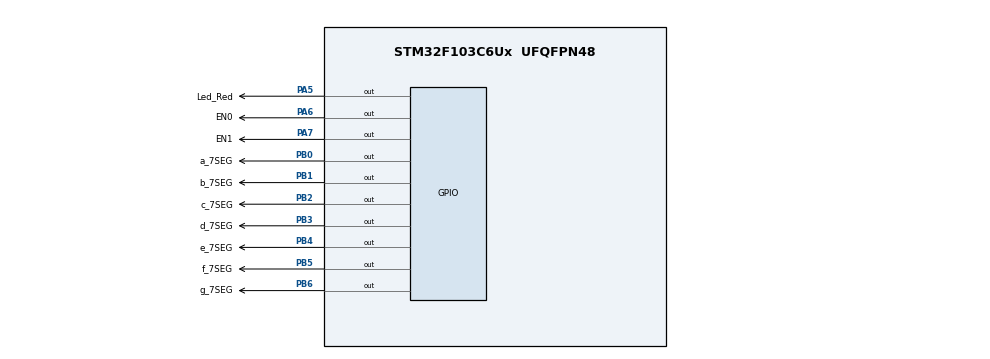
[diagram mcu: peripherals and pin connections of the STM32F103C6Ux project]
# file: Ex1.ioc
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Mcu.Family=STM32F1
Mcu.Name=STM32F103C6Ux
Mcu.Package=UFQFPN48
NVIC.PriorityGroup=NVIC_PRIORITYGROUP_4
NVIC.TIM2_IRQn=true\:0\:0\:false\:false\:true\:true\:true
PA5.GPIO_Label=Led_Red
PA5.Signal=GPIO_Output
PA6.GPIO_Label=EN0
PA6.Signal=GPIO_Output
PA7.GPIO_Label=EN1
PA7.Signal=GPIO_Output
PB0.GPIO_Label=a_7SEG
PB0.Signal=GPIO_Output
PB1.GPIO_Label=b_7SEG
PB1.Signal=GPIO_Output
PB2.GPIO_Label=c_7SEG
PB2.Signal=GPIO_Output
PB3.GPIO_Label=d_7SEG
PB3.Signal=GPIO_Output
PB4.GPIO_Label=e_7SEG
PB4.Signal=GPIO_Output
PB5.GPIO_Label=f_7SEG
PB5.Signal=GPIO_Output
PB6.GPIO_Label=g_7SEG
PB6.Signal=GPIO_Output
ProjectManager.HeapSize=0x200
ProjectManager.StackSize=0x400
ProjectManager.TargetToolchain=STM32CubeIDE
RCC.APB1Freq_Value=8000000
RCC.APB2Freq_Value=8000000
TIM2.Period=9
TIM2.Prescaler=7999
VP_SYS_VS_ND.Mode=No_Debug
VP_TIM2_VS_ClockSourceINT.Mode=Internal
board=custom

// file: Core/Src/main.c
/* USER CODE BEGIN Header */
/**
  ******************************************************************************
  * @file           : main.c
  * @brief          : Main program body
  ******************************************************************************
  * @attention
  *
  * <h2><center>&copy; Copyright (c) 2022 STMicroelectronics.
  * All rights reserved.</center></h2>
  *
  * This software component is licensed by ST under BSD 3-Clause license,
  * the "License"; You may not use this file except in compliance with the
  * License. You may obtain a copy of the License at:
  *                        opensource.org/licenses/BSD-3-Clause
  *
  ******************************************************************************
  */
/* USER CODE END Header */
#include "main.h"

TIM_HandleTypeDef htim2;

void SystemClock_Config(void);
static void MX_TIM2_Init(void);
static void MX_GPIO_Init(void);

/* USER CODE BEGIN 0 */
void display7SEG (int counter){
    //Turn on all segments
    HAL_GPIO_WritePin(GPIOB, a_7SEG_Pin|b_7SEG_Pin|c_7SEG_Pin|
    d_7SEG_Pin|e_7SEG_Pin|f_7SEG_Pin|g_7SEG_Pin, 0);

	switch (counter){
    	case 0:
		    HAL_GPIO_WritePin(GPIOB, g_7SEG_Pin, 1);
	  		break;
		case 1:
		    HAL_GPIO_WritePin(GPIOB, a_7SEG_Pin|d_7SEG_Pin|e_7SEG_Pin|
		    f_7SEG_Pin|g_7SEG_Pin, 1);
	  		break;
		case 2:
	  		HAL_GPIO_WritePin(GPIOB, c_7SEG_Pin|f_7SEG_Pin, 1);
	  		break;
		case 3:
	  	    HAL_GPIO_WritePin(GPIOB, e_7SEG_Pin|f_7SEG_Pin, 1);
	  	    break;
		case 4:
	  	    HAL_GPIO_WritePin(GPIOB, a_7SEG_Pin|d_7SEG_Pin|
	  		e_7SEG_Pin, 1);
	  		break;
		case 5:
	  		HAL_GPIO_WritePin(GPIOB, b_7SEG_Pin|e_7SEG_Pin, 1);
	  		break;
		case 6:
	  		HAL_GPIO_WritePin(GPIOB, b_7SEG_Pin, 1);
	  		break;
		case 7:
	  		HAL_GPIO_WritePin(GPIOB, d_7SEG_Pin|e_7SEG_Pin|f_7SEG_Pin|
	  		g_7SEG_Pin, 1);
	  		break;
		case 8:
	  		break;
		case 9:
	  		HAL_GPIO_WritePin(GPIOB, e_7SEG_Pin, 1);
	  		break;
		default:
	  		HAL_GPIO_WritePin(GPIOB, a_7SEG_Pin|b_7SEG_Pin|c_7SEG_Pin|
	  		d_7SEG_Pin|e_7SEG_Pin|f_7SEG_Pin|g_7SEG_Pin, 1);
	  		break;
	  }
}

/* USER CODE END 0 */

int main(void)
{

  /* MCU Configuration--------------------------------------------------------*/

  /* Reset of all peripherals, Initializes the Flash interface and the Systick. */
  HAL_Init();

  /* Configure the system clock */
  SystemClock_Config();

  /* Initialize all configured peripherals */
  MX_TIM2_Init();
  MX_GPIO_Init();
  /* USER CODE BEGIN 2 */
  HAL_TIM_Base_Start_IT (& htim2 );
  /* USER CODE END 2 */

  /* Infinite loop */
  while (1)
  {

  }
}

void SystemClock_Config(void)
{
  RCC_OscInitTypeDef RCC_OscInitStruct = {0};
  RCC_ClkInitTypeDef RCC_ClkInitStruct = {0};

  /** Initializes the RCC Oscillators according to the specified parameters
  * in the RCC_OscInitTypeDef structure.
  */
  RCC_OscInitStruct.OscillatorType = RCC_OSCILLATORTYPE_HSI;
  RCC_OscInitStruct.HSIState = RCC_HSI_ON;
  RCC_OscInitStruct.HSICalibrationValue = RCC_HSICALIBRATION_DEFAULT;
  RCC_OscInitStruct.PLL.PLLState = RCC_PLL_NONE;
  if (HAL_RCC_OscConfig(&RCC_OscInitStruct) != HAL_OK)
  {
    Error_Handler();
  }
  /** Initializes the CPU, AHB and APB buses clocks
  */
  RCC_ClkInitStruct.ClockType = RCC_CLOCKTYPE_HCLK|RCC_CLOCKTYPE_SYSCLK
                              |RCC_CLOCKTYPE_PCLK1|RCC_CLOCKTYPE_PCLK2;
  RCC_ClkInitStruct.SYSCLKSource = RCC_SYSCLKSOURCE_HSI;
  RCC_ClkInitStruct.AHBCLKDivider = RCC_SYSCLK_DIV1;
  RCC_ClkInitStruct.APB1CLKDivider = RCC_HCLK_DIV1;
  RCC_ClkInitStruct.APB2CLKDivider = RCC_HCLK_DIV1;

  if (HAL_RCC_ClockConfig(&RCC_ClkInitStruct, FLASH_LATENCY_0) != HAL_OK)
  {
    Error_Handler();
  }
}

static void MX_TIM2_Init(void)
{

  TIM_ClockConfigTypeDef sClockSourceConfig = {0};
  TIM_MasterConfigTypeDef sMasterConfig = {0};

  htim2.Instance = TIM2;
  htim2.Init.Prescaler = 7999;
  htim2.Init.CounterMode = TIM_COUNTERMODE_UP;
  htim2.Init.Period = 9;
  htim2.Init.ClockDivision = TIM_CLOCKDIVISION_DIV1;
  htim2.Init.AutoReloadPreload = TIM_AUTORELOAD_PRELOAD_DISABLE;
  if (HAL_TIM_Base_Init(&htim2) != HAL_OK)
  {
    Error_Handler();
  }
  sClockSourceConfig.ClockSource = TIM_CLOCKSOURCE_INTERNAL;
  if (HAL_TIM_ConfigClockSource(&htim2, &sClockSourceConfig) != HAL_OK)
  {
    Error_Handler();
  }
  sMasterConfig.MasterOutputTrigger = TIM_TRGO_RESET;
  sMasterConfig.MasterSlaveMode = TIM_MASTERSLAVEMODE_DISABLE;
  if (HAL_TIMEx_MasterConfigSynchronization(&htim2, &sMasterConfig) != HAL_OK)
  {
    Error_Handler();
  }

}

static void MX_GPIO_Init(void)
{
  GPIO_InitTypeDef GPIO_InitStruct = {0};

  /* GPIO Ports Clock Enable */
  __HAL_RCC_GPIOA_CLK_ENABLE();
  __HAL_RCC_GPIOB_CLK_ENABLE();

  /*Configure GPIO pin Output Level */
  HAL_GPIO_WritePin(GPIOA, Led_Red_Pin|EN0_Pin|EN1_Pin, GPIO_PIN_RESET);

  /*Configure GPIO pin Output Level */
  HAL_GPIO_WritePin(GPIOB, a_7SEG_Pin|b_7SEG_Pin|c_7SEG_Pin|d_7SEG_Pin
                          |e_7SEG_Pin|f_7SEG_Pin|g_7SEG_Pin, GPIO_PIN_RESET);

  /*Configure GPIO pins : Led_Red_Pin EN0_Pin EN1_Pin */
  GPIO_InitStruct.Pin = Led_Red_Pin|EN0_Pin|EN1_Pin;
  GPIO_InitStruct.Mode = GPIO_MODE_OUTPUT_PP;
  GPIO_InitStruct.Pull = GPIO_NOPULL;
  GPIO_InitStruct.Speed = GPIO_SPEED_FREQ_LOW;
  HAL_GPIO_Init(GPIOA, &GPIO_InitStruct);

  /*Configure GPIO pins : a_7SEG_Pin b_7SEG_Pin c_7SEG_Pin d_7SEG_Pin
                           e_7SEG_Pin f_7SEG_Pin g_7SEG_Pin */
  GPIO_InitStruct.Pin = a_7SEG_Pin|b_7SEG_Pin|c_7SEG_Pin|d_7SEG_Pin
                          |e_7SEG_Pin|f_7SEG_Pin|g_7SEG_Pin;
  GPIO_InitStruct.Mode = GPIO_MODE_OUTPUT_PP;
  GPIO_InitStruct.Pull = GPIO_NOPULL;
  GPIO_InitStruct.Speed = GPIO_SPEED_FREQ_LOW;
  HAL_GPIO_Init(GPIOB, &GPIO_InitStruct);

}

/* USER CODE BEGIN 4 */
int counter = 50;
int number = 1;

void HAL_TIM_PeriodElapsedCallback ( TIM_HandleTypeDef * htim )
{
	counter--;
	if (counter <= 0){
		counter = 50;
		HAL_GPIO_TogglePin ( Led_Red_GPIO_Port , Led_Red_Pin );
		switch (number) {
			case 1:
				HAL_GPIO_WritePin(GPIOA, EN0_Pin, 0);
				HAL_GPIO_WritePin(GPIOA, EN1_Pin, 1);
				display7SEG(1);
				number = 2;
				break;
			case 2:
				HAL_GPIO_WritePin(GPIOA, EN0_Pin, 1);
				HAL_GPIO_WritePin(GPIOA, EN1_Pin, 0);
				display7SEG(2);
				number = 1;
			default:
				break;
		}
	}
}
/* USER CODE END 4 */

void Error_Handler(void)
{
  __disable_irq();
  while (1)
  {
  }
}

/************************ (C) COPYRIGHT STMicroelectronics *****END OF FILE****/
